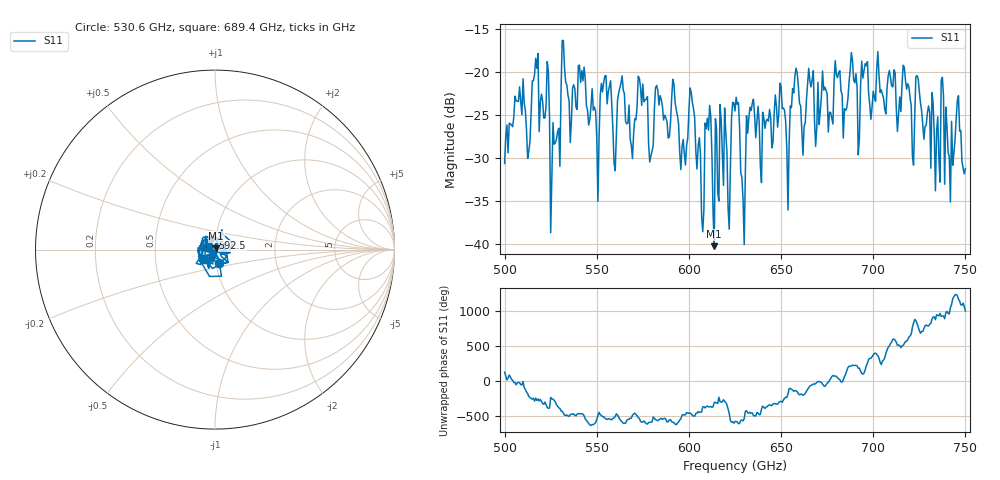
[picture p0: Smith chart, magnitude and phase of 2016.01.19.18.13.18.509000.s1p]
!Created with skrf (http://scikit-rf.org).
# GHz S RI R 50.0
!freq ReS11 ImS11
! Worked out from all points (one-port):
!   401 points, 500 GHz to 750 GHz, reference 50 ohm
!   lowest |S11| = -40.3 dB at 613.8 GHz (marker M1), VSWR 1.02, Z = 50.6 + j0.765 ohm
!   |S11| at or under -10 dB: start of sweep to end of sweep
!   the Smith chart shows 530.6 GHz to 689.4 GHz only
!   S11 on the Smith chart (normalised r, x): 530.6 GHz: 1.04, -0.16; 592.5 GHz: 0.97, +0.13; 689.4 GHz: 0.87, -0.10
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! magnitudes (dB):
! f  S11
! 500 GHz  -30.6
! 506.9 GHz  -23.4
! 513.1 GHz  -29.2
! 516.9 GHz  -18.4
! 526.2 GHz  -25.9
! 530.6 GHz  -22.0
! 531.2 GHz  -16.3
! 550 GHz  -27.5
! 562.5 GHz  -21.9
! 579.4 GHz  -29.7
! 592.5 GHz  -23.5
! 593.8 GHz  -25.1
! 601.9 GHz  -23.5
! 606.9 GHz  -36.7
! 610.6 GHz  -26.8
! 613.8 GHz  -40.3
! 621.9 GHz  -38.3
! 625 GHz  -24.5
! 629.4 GHz  -34.9
! 633.8 GHz  -24.5
! 653.1 GHz  -29.0
! 656.2 GHz  -21.9
! 687.5 GHz  -19.7
! 689.4 GHz  -20.9
! 718.8 GHz  -21.4
! 735 GHz  -25.2
! 746.2 GHz  -22.8
! 750 GHz  -31.2
